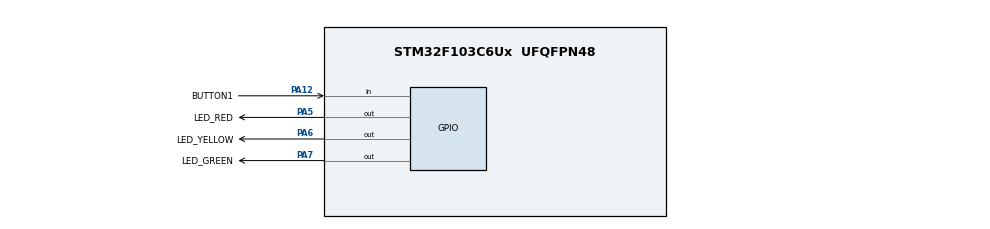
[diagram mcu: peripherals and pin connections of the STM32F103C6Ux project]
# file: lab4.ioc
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Mcu.Family=STM32F1
Mcu.Name=STM32F103C6Ux
Mcu.Package=UFQFPN48
NVIC.PriorityGroup=NVIC_PRIORITYGROUP_4
NVIC.TIM2_IRQn=true\:0\:0\:false\:false\:true\:true\:true\:true
PA12.GPIO_Label=BUTTON1
PA12.GPIO_PuPd=GPIO_PULLUP
PA12.Signal=GPIO_Input
PA13.Mode=Serial_Wire
PA13.Signal=SYS_JTMS-SWDIO
PA14.Mode=Serial_Wire
PA14.Signal=SYS_JTCK-SWCLK
PA5.GPIO_Label=LED_RED
PA5.Signal=GPIO_Output
PA6.GPIO_Label=LED_YELLOW
PA6.Signal=GPIO_Output
PA7.GPIO_Label=LED_GREEN
PA7.Signal=GPIO_Output
ProjectManager.HeapSize=0x200
ProjectManager.StackSize=0x400
ProjectManager.TargetToolchain=STM32CubeIDE
RCC.APB1Freq_Value=8000000
RCC.APB2Freq_Value=8000000
TIM2.Period=9
TIM2.Prescaler=7999
VP_TIM2_VS_ClockSourceINT.Mode=Internal
board=custom

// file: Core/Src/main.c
/* USER CODE BEGIN Header */
/**
  ******************************************************************************
  * @file           : main.c
  * @brief          : Main program body
  ******************************************************************************
  * @attention
  *
  * Copyright (c) 2022 STMicroelectronics.
  * All rights reserved.
  *
  * This software is licensed under terms that can be found in the LICENSE file
  * in the root directory of this software component.
  * If no LICENSE file comes with this software, it is provided AS-IS.
  *
  ******************************************************************************
  */
/* USER CODE END Header */
#include "main.h"

/* USER CODE BEGIN Includes */
#include "scheduler.h"
#include "button.h"
/* USER CODE END Includes */

TIM_HandleTypeDef htim2;

void SystemClock_Config(void);
static void MX_GPIO_Init(void);
static void MX_TIM2_Init(void);

/* USER CODE BEGIN 0 */
void led1test() {
	HAL_GPIO_TogglePin(LED_RED_GPIO_Port, LED_RED_Pin);
}

void ledoneshottest() {
	HAL_GPIO_TogglePin(LED_GREEN_GPIO_Port, LED_GREEN_Pin);
}
void ledbutton() {
	if (isButton1Pressed() == 1) {
		HAL_GPIO_TogglePin(LED_YELLOW_GPIO_Port, LED_YELLOW_Pin);
	}
}
/* USER CODE END 0 */

int main(void)
{

  /* MCU Configuration--------------------------------------------------------*/

  /* Reset of all peripherals, Initializes the Flash interface and the Systick. */
  HAL_Init();

  /* Configure the system clock */
  SystemClock_Config();

  /* Initialize all configured peripherals */
  MX_GPIO_Init();
  MX_TIM2_Init();
  /* USER CODE BEGIN 2 */
  HAL_TIM_Base_Start_IT(&htim2);
  /* USER CODE END 2 */

  /* Infinite loop */
  /* USER CODE BEGIN WHILE */
  SCH_Init();
  SCH_Add_Task(ledoneshottest, 3000, 0);
  SCH_Add_Task(led1test, 1000, 2000);
  SCH_Add_Task(getKeyInput, 10, 10);
  SCH_Add_Task(ledbutton, 1000, 1000);
  while (1)
  {
	  SCH_Dispatch_Tasks();
    /* USER CODE END WHILE */

  }
}

void SystemClock_Config(void)
{
  RCC_OscInitTypeDef RCC_OscInitStruct = {0};
  RCC_ClkInitTypeDef RCC_ClkInitStruct = {0};

  /** Initializes the RCC Oscillators according to the specified parameters
  * in the RCC_OscInitTypeDef structure.
  */
  RCC_OscInitStruct.OscillatorType = RCC_OSCILLATORTYPE_HSI;
  RCC_OscInitStruct.HSIState = RCC_HSI_ON;
  RCC_OscInitStruct.HSICalibrationValue = RCC_HSICALIBRATION_DEFAULT;
  RCC_OscInitStruct.PLL.PLLState = RCC_PLL_NONE;
  if (HAL_RCC_OscConfig(&RCC_OscInitStruct) != HAL_OK)
  {
    Error_Handler();
  }

  /** Initializes the CPU, AHB and APB buses clocks
  */
  RCC_ClkInitStruct.ClockType = RCC_CLOCKTYPE_HCLK|RCC_CLOCKTYPE_SYSCLK
                              |RCC_CLOCKTYPE_PCLK1|RCC_CLOCKTYPE_PCLK2;
  RCC_ClkInitStruct.SYSCLKSource = RCC_SYSCLKSOURCE_HSI;
  RCC_ClkInitStruct.AHBCLKDivider = RCC_SYSCLK_DIV1;
  RCC_ClkInitStruct.APB1CLKDivider = RCC_HCLK_DIV1;
  RCC_ClkInitStruct.APB2CLKDivider = RCC_HCLK_DIV1;

  if (HAL_RCC_ClockConfig(&RCC_ClkInitStruct, FLASH_LATENCY_0) != HAL_OK)
  {
    Error_Handler();
  }
}

static void MX_TIM2_Init(void)
{

  TIM_ClockConfigTypeDef sClockSourceConfig = {0};
  TIM_MasterConfigTypeDef sMasterConfig = {0};

  htim2.Instance = TIM2;
  htim2.Init.Prescaler = 7999;
  htim2.Init.CounterMode = TIM_COUNTERMODE_UP;
  htim2.Init.Period = 9;
  htim2.Init.ClockDivision = TIM_CLOCKDIVISION_DIV1;
  htim2.Init.AutoReloadPreload = TIM_AUTORELOAD_PRELOAD_DISABLE;
  if (HAL_TIM_Base_Init(&htim2) != HAL_OK)
  {
    Error_Handler();
  }
  sClockSourceConfig.ClockSource = TIM_CLOCKSOURCE_INTERNAL;
  if (HAL_TIM_ConfigClockSource(&htim2, &sClockSourceConfig) != HAL_OK)
  {
    Error_Handler();
  }
  sMasterConfig.MasterOutputTrigger = TIM_TRGO_RESET;
  sMasterConfig.MasterSlaveMode = TIM_MASTERSLAVEMODE_DISABLE;
  if (HAL_TIMEx_MasterConfigSynchronization(&htim2, &sMasterConfig) != HAL_OK)
  {
    Error_Handler();
  }

}

static void MX_GPIO_Init(void)
{
  GPIO_InitTypeDef GPIO_InitStruct = {0};

  /* GPIO Ports Clock Enable */
  __HAL_RCC_GPIOA_CLK_ENABLE();

  /*Configure GPIO pin Output Level */
  HAL_GPIO_WritePin(GPIOA, LED_RED_Pin|LED_YELLOW_Pin|LED_GREEN_Pin, GPIO_PIN_RESET);

  /*Configure GPIO pins : LED_RED_Pin LED_YELLOW_Pin LED_GREEN_Pin */
  GPIO_InitStruct.Pin = LED_RED_Pin|LED_YELLOW_Pin|LED_GREEN_Pin;
  GPIO_InitStruct.Mode = GPIO_MODE_OUTPUT_PP;
  GPIO_InitStruct.Pull = GPIO_NOPULL;
  GPIO_InitStruct.Speed = GPIO_SPEED_FREQ_LOW;
  HAL_GPIO_Init(GPIOA, &GPIO_InitStruct);

  /*Configure GPIO pin : BUTTON1_Pin */
  GPIO_InitStruct.Pin = BUTTON1_Pin;
  GPIO_InitStruct.Mode = GPIO_MODE_INPUT;
  GPIO_InitStruct.Pull = GPIO_PULLUP;
  HAL_GPIO_Init(BUTTON1_GPIO_Port, &GPIO_InitStruct);

}

/* USER CODE BEGIN 4 */
void HAL_TIM_PeriodElapsedCallback(TIM_HandleTypeDef *htim) {
	SCH_Update();
}
/* USER CODE END 4 */

void Error_Handler(void)
{
  __disable_irq();
  while (1)
  {
  }
}
